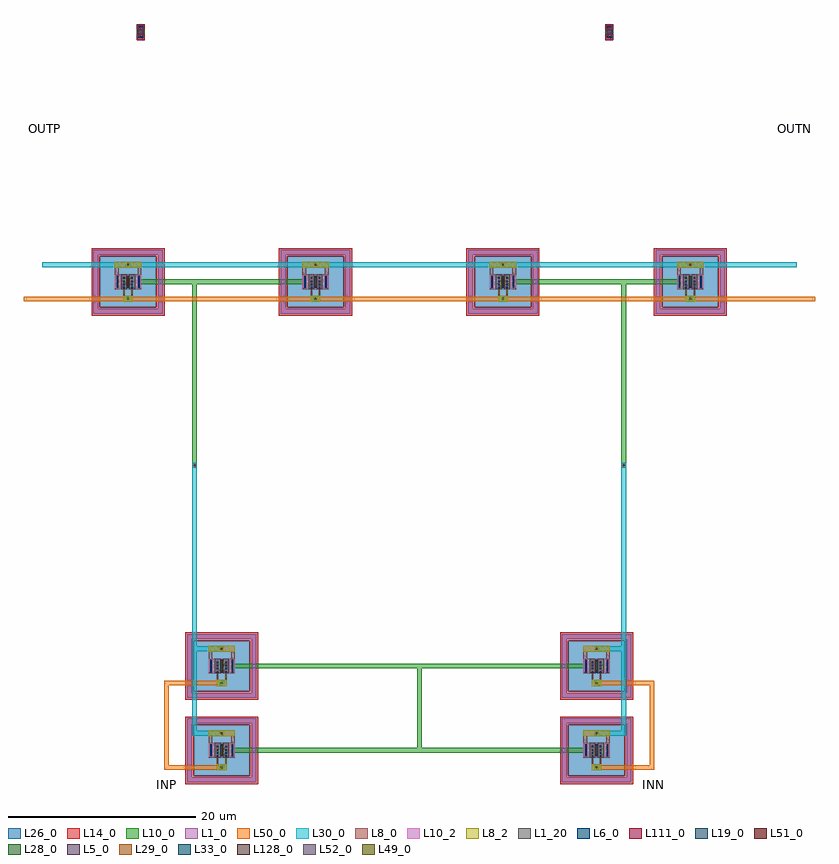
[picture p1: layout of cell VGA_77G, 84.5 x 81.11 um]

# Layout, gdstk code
import gdstk
lib = gdstk.Library(unit=1e-6, precision=1e-09)
def R(c, l, rs):  # rectangles x0, y0, x1, y1
    for r in rs: c.add(gdstk.rectangle(r[:2], r[2:], *l))
def A(c, l, x, y, w, h, nx, ny, dx, dy):  # array of equal rectangles
    R(c, l, [(x+i*dx, y+j*dy, x+i*dx+w, y+j*dy+h) for i in range(nx) for j in range(ny)])
def P(c, l, *ps):  # polygons
    for p in ps: c.add(gdstk.Polygon(p, *l))
L1_0 = (1, 0)
L1_20 = (1, 20)
L5_0 = (5, 0)
L6_0 = (6, 0)
L8_0 = (8, 0)
L8_2 = (8, 2)
L10_0 = (10, 0)
L10_2 = (10, 2)
L14_0 = (14, 0)
L19_0 = (19, 0)
L26_0 = (26, 0)
L28_0 = (28, 0)
L29_0 = (29, 0)
L30_0 = (30, 0)
L33_0 = (33, 0)
L49_0 = (49, 0)
L50_0 = (50, 0)
L51_0 = (51, 0)
L52_0 = (52, 0)
L111_0 = (111, 0)
L128_0 = (128, 0)

npn13g2l = lib.new_cell('npn13G2L')
R(npn13g2l, L1_0, [(2.5,2.82,3.16,4.38), (3.77,2.82,4.03,4.38), (4.64,2.82,5.3,4.38)])
P(npn13g2l, L1_0, [(0.2,0.2),(0.2,7),(7.1,7),(7.1,6.5),(0.7,6.5),(0.7,0.7),(7.1,0.7),(7.1,7),(7.6,7),(7.6,0.2)])
R(npn13g2l, L1_20, [(3.16,2.82,3.77,4.38), (4.03,2.82,4.64,4.38)])
A(npn13g2l, L6_0, 3.385, 2.89, 0.16, 0.16, 1, 4, 0, 0.34)
A(npn13g2l, L6_0, 4.255, 2.89, 0.16, 0.16, 1, 4, 0, 0.34)
A(npn13g2l, L6_0, 2.68, 2.95, 0.16, 1.3, 3, 1, 1.14, 0)
R(npn13g2l, L8_0, [(3.385,1.45,4.415,2.1), (3.385,2.1,3.545,4.38), (4.255,2.1,4.415,4.38), (2.5,2.82,2.89,5.1), (4.91,2.82,5.3,5.1), (3.77,2.9,4.03,4.3), (2.5,5.1,5.3,5.75)])
R(npn13g2l, L8_2, [(3.385,1.45,4.415,2.1), (2.5,5.1,5.3,5.75)])
R(npn13g2l, L10_0, [(2.5,2.9,5.3,4.3)])
R(npn13g2l, L10_2, [(2.5,2.9,5.3,4.3)])
P(npn13g2l, L14_0, [(0,0),(0,7.2),(6.9,7.2),(6.9,6.3),(0.9,6.3),(0.9,0.9),(6.9,0.9),(6.9,7.2),(7.8,7.2),(7.8,0)])
R(npn13g2l, L19_0, [(3.805,3,3.995,4.2)])
R(npn13g2l, L26_0, [(0.9,0.9,6.9,6.3)])
R(npn13g2l, L33_0, [(3.865,3.1,3.935,4.1)])
R(npn13g2l, L51_0, [(3.815,3.05,3.985,4.15)])
npn13g2l.add(gdstk.Label('E', (3.9,3.6), layer=63, texttype=0))
npn13g2l.add(gdstk.Label('B', (3.9,1.775), layer=63, texttype=0))
npn13g2l.add(gdstk.Label('C', (3.9,5.425), layer=63, texttype=0))
npn13g2l.add(gdstk.Label('npn13G2L', (1.75,1), layer=63, texttype=0))
npn13g2l.add(gdstk.Label('Ae=1*1*1.00*0.07', (1.5,1), layer=63, texttype=0))
npn13g2l.add(gdstk.Label('npn13G2L', (3.9,3.6), layer=51, texttype=0))

rppd = lib.new_cell('rppd')
R(rppd, L5_0, [(0,-0.43,0.5,-0.2), (0,-0.2,0.5,0), (0,0.5,0.5,0.7), (0,0.7,0.5,0.93)])
R(rppd, L6_0, [(0.07,-0.36,0.43,-0.2), (0.07,0.7,0.43,0.86)])
R(rppd, L8_0, [(0.02,-0.43,0.48,-0.13), (0.02,0.63,0.48,0.93)])
R(rppd, L8_2, [(0.02,-0.43,0.48,-0.13), (0.02,0.63,0.48,0.93)])
R(rppd, L14_0, [(-0.18,-0.61,0.68,0), (-0.18,0,0.68,0.5), (-0.18,0.5,0.68,1.11)])
R(rppd, L28_0, [(-0.2,0,0.7,0.5)])
R(rppd, L52_0, [(0,0,0.5,0.5)])
R(rppd, L111_0, [(-0.18,-0.61,0.68,0), (-0.2,0,0.7,0.5), (-0.18,0.5,0.68,1.11)])
R(rppd, L128_0, [(0,0,0.5,0.5)])
rppd.add(gdstk.Label('rppd r=396.917', (0.25,0.25), layer=63, texttype=0))
rppd.add(gdstk.Label('rppd', (0.25,0.25), layer=52, texttype=0))

vga_77g = lib.new_cell('VGA_77G')
A(vga_77g, L8_0, 68.65, 151.525, 0.5, 0.5, 4, 2, 20, 3.65)
R(vga_77g, L8_0, [(78.65,101.525,79.15,102.025), (118.65,101.525,119.15,102.025), (78.65,105.175,79.15,105.675), (118.65,105.175,119.15,105.675), (78.65,110.525,79.15,111.025), (118.65,110.525,119.15,111.025), (78.65,114.175,79.15,114.675), (118.65,114.175,119.15,114.675)])
R(vga_77g, L10_0, [(78.65,101.525,79.15,102.025), (78.65,101.525,79.15,102.025), (118.65,101.525,119.15,102.025), (118.65,101.525,119.15,102.025), (78.65,103.35,100.25,103.85), (99.75,103.35,119.15,103.85), (99.75,103.35,100.25,112.85), (78.65,105.175,79.15,105.675), (78.65,105.175,79.15,105.675), (118.65,105.175,119.15,105.675), (118.65,105.175,119.15,105.675), (78.65,110.525,79.15,111.025), (78.65,110.525,79.15,111.025), (118.65,110.525,119.15,111.025), (118.65,110.525,119.15,111.025), (78.65,112.35,100.25,112.85), (99.75,112.35,119.15,112.85), (78.65,114.175,79.15,114.675), (78.65,114.175,79.15,114.675), (118.65,114.175,119.15,114.675), (118.65,114.175,119.15,114.675), (75.75,133.76,76.25,134.26), (75.75,133.76,76.25,153.85), (121.55,133.76,122.05,134.26), (121.55,133.76,122.05,153.85), (68.65,151.525,69.15,152.025), (68.65,151.525,69.15,152.025), (88.65,151.525,89.15,152.025), (88.65,151.525,89.15,152.025), (108.65,151.525,109.15,152.025), (108.65,151.525,109.15,152.025), (128.65,151.525,129.15,152.025), (128.65,151.525,129.15,152.025), (68.65,153.35,76.25,153.85), (75.75,153.35,76.25,153.85), (75.75,153.35,89.15,153.85), (108.65,153.35,122.05,153.85), (121.55,153.35,122.05,153.85), (121.55,153.35,129.15,153.85), (68.65,155.175,69.15,155.675), (68.65,155.175,69.15,155.675), (88.65,155.175,89.15,155.675), (88.65,155.175,89.15,155.675), (108.65,155.175,109.15,155.675), (108.65,155.175,109.15,155.675), (128.65,155.175,129.15,155.675), (128.65,155.175,129.15,155.675)])
A(vga_77g, L19_0, 68.805, 151.68, 0.19, 0.19, 4, 2, 20, 3.65)
R(vga_77g, L19_0, [(78.805,101.68,78.995,101.87), (118.805,101.68,118.995,101.87), (78.805,105.33,78.995,105.52), (118.805,105.33,118.995,105.52), (78.805,110.68,78.995,110.87), (118.805,110.68,118.995,110.87), (78.805,114.33,78.995,114.52), (118.805,114.33,118.995,114.52)])
A(vga_77g, L29_0, 68.805, 151.68, 0.19, 0.19, 4, 2, 20, 3.65)
R(vga_77g, L29_0, [(78.805,101.68,78.995,101.87), (118.805,101.68,118.995,101.87), (78.805,105.33,78.995,105.52), (118.805,105.33,118.995,105.52), (78.805,110.68,78.995,110.87), (118.805,110.68,118.995,110.87), (78.805,114.33,78.995,114.52), (118.805,114.33,118.995,114.52), (75.905,133.915,76.095,134.105), (121.705,133.915,121.895,134.105)])
A(vga_77g, L30_0, 68.65, 155.175, 0.5, 0.5, 4, 1, 20, 0)
R(vga_77g, L30_0, [(78.65,101.525,79.15,102.025), (78.65,101.525,79.15,102.025), (118.65,101.525,119.15,102.025), (118.65,101.525,119.15,102.025), (75.75,105.175,79.15,105.675), (75.75,105.175,76.25,114.675), (78.65,105.175,79.15,105.675), (118.65,105.175,119.15,105.675), (118.65,105.175,122.05,105.675), (121.55,105.175,122.05,114.675), (78.65,110.525,79.15,111.025), (78.65,110.525,79.15,111.025), (118.65,110.525,119.15,111.025), (118.65,110.525,119.15,111.025), (75.75,114.175,79.15,114.675), (75.75,114.175,76.25,134.26), (78.65,114.175,79.15,114.675), (118.65,114.175,119.15,114.675), (118.65,114.175,122.05,114.675), (121.55,114.175,122.05,134.26), (75.75,133.76,76.25,134.26), (121.55,133.76,122.05,134.26), (68.65,151.525,69.15,152.025), (68.65,151.525,69.15,152.025), (88.65,151.525,89.15,152.025), (88.65,151.525,89.15,152.025), (108.65,151.525,109.15,152.025), (108.65,151.525,109.15,152.025), (128.65,151.525,129.15,152.025), (128.65,151.525,129.15,152.025), (59.75,155.175,60.25,155.675), (59.75,155.175,69.15,155.675), (59.75,155.175,109.15,155.675), (88.65,155.175,140.25,155.675), (128.65,155.175,140.25,155.675), (139.75,155.175,140.25,155.675)])
A(vga_77g, L49_0, 68.805, 151.68, 0.19, 0.19, 4, 1, 20, 0)
R(vga_77g, L49_0, [(78.805,101.68,78.995,101.87), (118.805,101.68,118.995,101.87), (78.805,110.68,78.995,110.87), (118.805,110.68,118.995,110.87)])
A(vga_77g, L50_0, 68.65, 151.525, 0.5, 0.5, 4, 1, 20, 0)
R(vga_77g, L50_0, [(72.75,101.525,79.15,102.025), (72.75,101.525,73.25,111.025), (78.65,101.525,79.15,102.025), (118.65,101.525,119.15,102.025), (118.65,101.525,125.05,102.025), (124.55,101.525,125.05,111.025), (72.75,110.525,79.15,111.025), (78.65,110.525,79.15,111.025), (118.65,110.525,119.15,111.025), (118.65,110.525,125.05,111.025), (57.75,151.525,58.25,152.025), (57.75,151.525,69.15,152.025), (57.75,151.525,129.15,152.025), (88.65,151.525,142.25,152.025), (108.65,151.525,142.25,152.025), (141.75,151.525,142.25,152.025)])
vga_77g.add(gdstk.Reference(npn13g2l, (75,100)))
vga_77g.add(gdstk.Reference(npn13g2l, (75,109)))
vga_77g.add(gdstk.Reference(npn13g2l, (115,100)))
vga_77g.add(gdstk.Reference(npn13g2l, (115,109)))
vga_77g.add(gdstk.Reference(npn13g2l, (65,150)))
vga_77g.add(gdstk.Reference(npn13g2l, (85,150)))
vga_77g.add(gdstk.Reference(npn13g2l, (105,150)))
vga_77g.add(gdstk.Reference(npn13g2l, (125,150)))
vga_77g.add(gdstk.Reference(rppd, (70,180)))
vga_77g.add(gdstk.Reference(rppd, (120,180)))
vga_77g.add(gdstk.Label('INP', (73,100), layer=30, texttype=0))
vga_77g.add(gdstk.Label('INN', (125,100), layer=30, texttype=0))
vga_77g.add(gdstk.Label('OUTP', (60,170), layer=30, texttype=0))
vga_77g.add(gdstk.Label('OUTN', (140,170), layer=30, texttype=0))

lib.write_gds('VGA_77G.gds')
